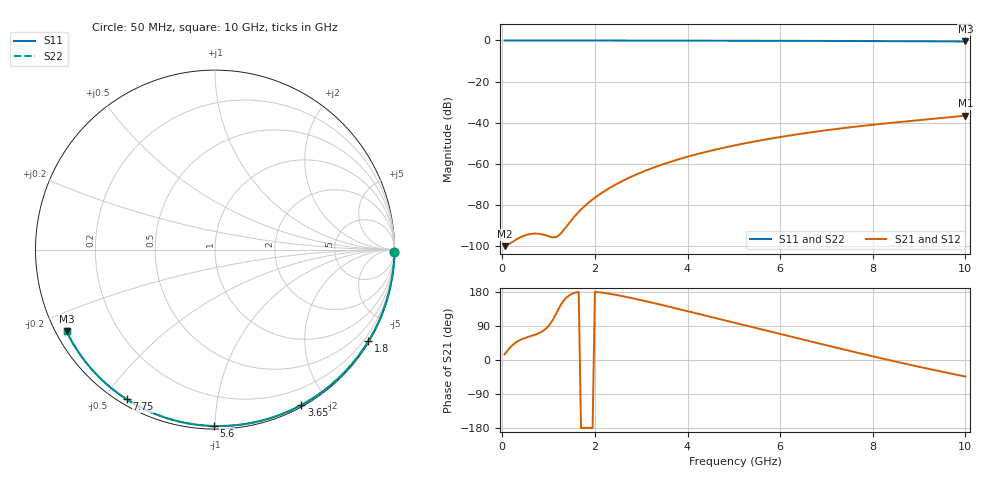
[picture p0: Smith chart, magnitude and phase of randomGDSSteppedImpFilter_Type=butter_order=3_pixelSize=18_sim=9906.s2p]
! freq	dB(S11)	phase(S11)	dB(S12)	phase(S12)
!  dB(S21)	phase(S21)	dB(S22)	phase(S22)
!S-par simulation data
#  GHz  S  DB  R 50
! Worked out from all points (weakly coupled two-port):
!   200 points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, 50 MHz to 10 GHz, reference 50 ohm
!   highest |S21| = -36.57 dB at 10 GHz (marker M1); lowest = -100.0 dB at 50 MHz (marker M2)
!   lowest |S11| = -0.5 dB at 10 GHz (marker M3), VSWR 34.91, Z = 1.53 - j12.9 ohm
!   |S11| at or under -10 dB: nowhere
!   |S22| runs from -0.5 to 0.0 dB; largest |S21 - S12| = 0
!   S11 on the Smith chart (normalised r, x): 50 MHz: open; 1.8 GHz: 0.03, -3.62; 3.65 GHz: 0.02, -1.70; 5.6 GHz: 0.02, -0.99; 7.75 GHz: 0.02, -0.57; 10 GHz: 0.03, -0.26
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0.05  -0.00 -0.9  -99.98 15.0  -99.98 15.0  -0.00 -0.9
0.45  -0.01 -7.8  -95.06 56.2  -95.06 56.2  -0.01 -7.8
0.9  -0.02 -15.6  -94.47 78.5  -94.47 78.5  -0.02 -15.6
1.3  -0.03 -22.4  -92.84 152.6  -92.84 152.6  -0.03 -22.4
1.75  -0.04 -30.0  -81.09 -179.2  -81.09 -179.2  -0.04 -30.0
1.8  -0.04 -30.9  -80.06 -179.0  -80.06 -179.0  -0.04 -30.9
2  -0.04 -34.2  -76.42 179.9  -76.42 179.9  -0.04 -34.2
2.15  -0.05 -36.7  -74.06 177.8  -74.06 177.8  -0.05 -36.7
2.5  -0.05 -42.5  -69.40 170.7  -69.40 170.7  -0.05 -42.5
2.9  -0.06 -49.0  -65.08 160.6  -65.08 160.6  -0.06 -49.0
3.4  -0.08 -57.0  -60.71 146.5  -60.71 146.5  -0.08 -57.0
3.65  -0.08 -61.0  -58.85 139.2  -58.85 139.2  -0.08 -61.0
4.3  -0.10 -71.0  -54.69 119.7  -54.69 119.7  -0.10 -71.0
5.05  -0.13 -82.3  -50.84 97.1  -50.84 97.1  -0.13 -82.3
5.6  -0.15 -90.4  -48.47 80.5  -48.47 80.5  -0.15 -90.4
6.15  -0.18 -98.3  -46.39 64.1  -46.39 64.1  -0.18 -98.3
6.7  -0.21 -106.0  -44.55 47.7  -44.55 47.7  -0.21 -106.0
7.2  -0.24 -113.0  -43.05 32.9  -43.05 32.9  -0.24 -113.0
7.75  -0.28 -120.5  -41.59 16.8  -41.59 16.8  -0.28 -120.5
8.35  -0.33 -128.6  -40.15 -0.2  -40.15 -0.2  -0.33 -128.6
9.2  -0.41 -140.2  -38.31 -23.3  -38.31 -23.3  -0.41 -140.2
10  -0.50 -151.1  -36.57 -43.7  -36.57 -43.7  -0.50 -151.1
